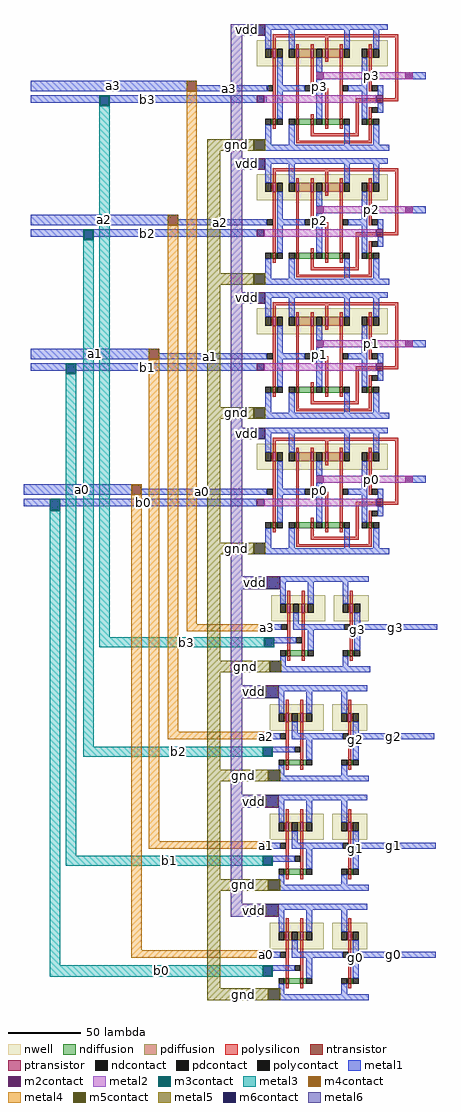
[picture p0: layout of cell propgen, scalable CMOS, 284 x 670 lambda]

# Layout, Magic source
magic
tech scmos
<< metal1 >>
rect 7 79 15 87
rect 111 49 125 54
rect -146 45 -32 48
rect -146 41 17 45
rect -146 37 14 38
rect -146 33 16 37
rect -99 31 -92 33
rect 7 0 15 8
rect 7 -13 15 -5
rect 111 -43 125 -38
rect -146 -47 -45 -44
rect -146 -51 15 -47
rect -146 -59 14 -54
rect -110 -61 -103 -59
rect 7 -92 15 -84
rect 7 -105 15 -97
rect 111 -135 125 -130
rect -146 -139 -58 -136
rect -146 -143 14 -139
rect -146 -151 14 -146
rect -122 -153 -115 -151
rect 7 -184 15 -176
rect 7 -198 15 -190
rect 111 -228 125 -223
rect -151 -232 -70 -229
rect -151 -236 9 -232
rect -151 -244 9 -239
rect -133 -247 -126 -244
rect 7 -277 15 -269
rect 16 -301 25 -292
rect 14 -330 19 -325
rect 79 -329 133 -325
rect 14 -341 21 -334
rect 18 -358 26 -350
rect 15 -376 24 -367
rect 13 -404 18 -399
rect 77 -404 131 -400
rect 13 -416 20 -409
rect 17 -433 25 -425
rect 15 -451 24 -442
rect 13 -479 18 -474
rect 78 -479 132 -475
rect 13 -491 20 -484
rect 17 -508 25 -500
rect 15 -526 24 -517
rect 13 -554 18 -549
rect 78 -554 132 -550
rect 13 -567 20 -559
rect 17 -583 25 -575
<< metal2 >>
rect 50 49 116 54
rect 50 -43 116 -38
rect 50 -135 116 -130
rect 50 -228 116 -223
<< m3contact >>
rect -99 31 -92 38
rect -110 -61 -103 -54
rect -122 -153 -115 -146
rect -133 -247 -126 -239
rect 14 -341 21 -334
rect 13 -416 20 -409
rect 13 -491 20 -484
rect 13 -567 20 -559
<< metal3 >>
rect -133 -559 -126 -247
rect -122 -484 -115 -153
rect -110 -409 -103 -61
rect -99 -334 -92 31
rect -99 -341 14 -334
rect -110 -416 13 -409
rect -122 -491 13 -484
rect -133 -567 13 -559
<< m4contact >>
rect -39 41 -32 48
rect -52 -51 -45 -44
rect -65 -143 -58 -136
rect -77 -236 -70 -229
rect 14 -330 19 -325
rect 13 -404 18 -399
rect 13 -479 18 -474
rect 13 -554 18 -549
<< metal4 >>
rect -77 -549 -70 -236
rect -65 -474 -58 -143
rect -52 -399 -45 -51
rect -39 -325 -32 41
rect -39 -330 14 -325
rect -52 -404 13 -399
rect -65 -479 13 -474
rect -77 -554 13 -549
<< m5contact >>
rect 7 0 15 8
rect 7 -92 15 -84
rect 7 -184 15 -176
rect 7 -277 15 -269
rect 18 -358 26 -350
rect 17 -433 25 -425
rect 17 -508 25 -500
rect 17 -583 25 -575
<< metal5 >>
rect -25 0 7 8
rect -25 -84 -16 0
rect -25 -92 7 -84
rect -25 -176 -16 -92
rect -25 -184 7 -176
rect -25 -269 -16 -184
rect -25 -277 7 -269
rect -25 -350 -16 -277
rect -25 -358 18 -350
rect -25 -425 -16 -358
rect -25 -433 17 -425
rect -25 -500 -16 -433
rect -25 -508 17 -500
rect -25 -575 -16 -508
rect -25 -583 17 -575
<< m6contact >>
rect 7 79 15 87
rect 7 -13 15 -5
rect 7 -105 15 -97
rect 7 -198 15 -190
rect 16 -301 25 -292
rect 15 -376 24 -367
rect 15 -451 24 -442
rect 15 -526 24 -517
<< metal6 >>
rect -9 79 7 87
rect -9 -5 -1 79
rect -9 -13 7 -5
rect -9 -97 -1 -13
rect -9 -105 7 -97
rect -9 -190 -1 -105
rect -9 -198 7 -190
rect -9 -292 -1 -198
rect -9 -301 16 -292
rect -9 -367 -1 -301
rect -9 -376 15 -367
rect -9 -442 -1 -376
rect -9 -451 15 -442
rect -9 -517 -1 -451
rect -9 -526 15 -517
use xor1  xor1_0
transform 1 0 34 0 1 62
box -33 -62 91 25
use xor1  xor1_1
transform 1 0 34 0 1 -30
box -33 -62 91 25
use xor1  xor1_2
transform 1 0 34 0 1 -122
box -33 -62 91 25
use xor1  xor1_3
transform 1 0 34 0 1 -215
box -33 -62 91 25
use 2and  2and_0
transform 1 0 19 0 1 -322
box -5 -36 71 30
use 2and  2and_1
transform 1 0 18 0 1 -397
box -5 -36 71 30
use 2and  2and_2
transform 1 0 18 0 1 -472
box -5 -36 71 30
use 2and  2and_3
transform 1 0 18 0 1 -547
box -5 -36 71 30
<< labels >>
rlabel metal1 -146 41 -32 48 1 a3
rlabel metal1 -146 -51 -45 -44 1 a2
rlabel metal1 -146 -143 -58 -136 1 a1
rlabel metal1 -151 -236 -70 -229 1 a0
rlabel space -39 41 20 45 1 a3
rlabel space -52 -51 20 -47 1 a2
rlabel space -65 -143 20 -139 1 a1
rlabel space -77 -236 20 -232 1 a0
rlabel metal1 -146 33 14 38 1 b3
rlabel metal1 -146 -59 14 -54 1 b2
rlabel metal1 -146 -151 14 -146 1 b1
rlabel space -152 -244 14 -239 1 b0
rlabel metal3 -99 -341 21 -334 1 b3
rlabel metal3 -110 -416 20 -409 1 b2
rlabel metal3 -122 -491 20 -484 1 b1
rlabel metal3 -133 -567 20 -559 1 b0
rlabel space 50 49 125 54 1 p3
rlabel space 50 -43 125 -38 1 p2
rlabel space 50 -135 125 -130 1 p1
rlabel space 50 -228 125 -223 1 p0
rlabel space 76 -329 133 -325 1 g3
rlabel space 75 -404 131 -400 1 g2
rlabel space 75 -479 131 -475 1 g1
rlabel space 75 -554 131 -550 1 g0
rlabel metal5 -25 0 15 8 1 gnd
rlabel metal5 -25 -184 15 -176 1 gnd
rlabel metal5 -25 -277 15 -269 1 gnd
rlabel metal5 -24 -358 26 -350 1 gnd
rlabel metal5 -25 -433 25 -425 1 gnd
rlabel metal5 -25 -508 25 -500 1 gnd
rlabel metal5 -25 -583 25 -575 1 gnd
rlabel metal6 -9 -526 24 -517 1 vdd
rlabel metal6 -9 -451 24 -442 1 vdd
rlabel metal6 -9 -376 24 -367 1 vdd
rlabel metal6 -8 -301 25 -292 1 vdd
rlabel metal6 -9 -198 15 -190 1 vdd
rlabel metal6 -9 -105 15 -97 1 vdd
rlabel metal6 -9 -13 15 -5 1 vdd
rlabel metal6 -9 79 15 87 5 vdd
rlabel space 3 -329 30 -325 1 a3
rlabel space 2 -404 29 -400 1 a2
rlabel space 2 -479 29 -475 1 a1
rlabel space 2 -554 29 -550 1 a0
rlabel space 1 -563 39 -559 1 b0
rlabel space 1 -488 39 -484 1 b1
rlabel space 1 -413 39 -409 1 b2
rlabel space 2 -338 40 -334 1 b3
rlabel space 50 18 54 70 1 p3
rlabel space 50 -74 54 -22 1 p2
rlabel space 50 -166 54 -114 1 p1
rlabel space 50 -259 54 -207 1 p0
rlabel space 76 -347 80 -311 1 g3
rlabel space 75 -422 79 -386 1 g2
rlabel space 75 -497 79 -461 1 g1
rlabel space 75 -572 79 -536 1 g0
<< end >>

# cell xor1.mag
magic
tech scmos
<< nwell >>
rect -25 -4 65 14
<< ntransistor >>
rect -14 -44 -12 -40
rect 2 -44 4 -40
rect 12 -44 14 -40
rect 22 -44 24 -40
rect 32 -44 34 -40
rect 52 -44 54 -40
<< ptransistor >>
rect -14 2 -12 8
rect 2 2 4 8
rect 12 2 14 8
rect 22 2 24 8
rect 32 2 34 8
rect 52 2 54 8
<< ndiffusion >>
rect -15 -44 -14 -40
rect -12 -44 -11 -40
rect 1 -44 2 -40
rect 4 -44 12 -40
rect 14 -44 16 -40
rect 20 -44 22 -40
rect 24 -44 32 -40
rect 34 -44 35 -40
rect 51 -44 52 -40
rect 54 -44 55 -40
<< pdiffusion >>
rect -15 2 -14 8
rect -12 2 -11 8
rect 1 2 2 8
rect 4 2 12 8
rect 14 2 16 8
rect 20 2 22 8
rect 24 2 32 8
rect 34 2 35 8
rect 51 2 52 8
rect 54 2 55 8
<< ndcontact >>
rect -19 -44 -15 -40
rect -11 -44 -7 -40
rect -3 -44 1 -40
rect 16 -44 20 -40
rect 35 -44 39 -40
rect 47 -44 51 -40
rect 55 -44 59 -40
<< pdcontact >>
rect -19 2 -15 8
rect -11 2 -7 8
rect -3 2 1 8
rect 16 2 20 8
rect 35 2 39 8
rect 47 2 51 8
rect 55 2 59 8
<< polysilicon >>
rect -14 16 72 18
rect -14 8 -12 16
rect 2 8 4 11
rect 12 8 14 11
rect 22 8 24 16
rect 32 8 34 11
rect 52 8 54 11
rect -14 -40 -12 2
rect 2 -40 4 2
rect 12 -19 14 2
rect 22 -1 24 2
rect 12 -21 24 -19
rect 12 -40 14 -37
rect 22 -40 24 -21
rect 32 -40 34 2
rect 52 -21 54 2
rect 70 -26 72 16
rect 43 -28 72 -26
rect -14 -47 -12 -44
rect 2 -55 4 -44
rect 12 -50 14 -44
rect 22 -47 24 -44
rect 32 -47 34 -44
rect 43 -50 45 -28
rect 52 -40 54 -32
rect 12 -52 45 -50
rect 52 -55 54 -44
rect 2 -57 54 -55
<< polycontact >>
rect -18 -21 -14 -17
rect 8 -21 12 -17
rect 34 -21 38 -17
rect 54 -21 58 -17
rect 54 -36 58 -32
<< metal1 >>
rect -25 21 65 25
rect -19 8 -15 21
rect -3 8 1 21
rect 35 8 39 21
rect 55 8 59 21
rect -11 -17 -7 2
rect 16 -8 20 2
rect -33 -21 -18 -17
rect -11 -21 8 -17
rect -33 -29 -25 -25
rect -11 -40 -7 -21
rect 16 -40 20 -13
rect 47 -17 51 2
rect 82 -13 91 -9
rect 38 -21 51 -17
rect 47 -40 51 -21
rect 58 -24 62 -17
rect 58 -36 62 -29
rect -19 -58 -15 -44
rect -3 -58 1 -44
rect 35 -58 39 -44
rect 55 -58 59 -44
rect -24 -62 66 -58
<< m2contact >>
rect 16 -13 21 -8
rect -25 -29 -20 -24
rect 77 -13 82 -8
rect 57 -29 62 -24
<< metal2 >>
rect 21 -13 77 -9
rect -20 -29 57 -24
<< end >>

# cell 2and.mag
magic
tech scmos
<< nwell >>
rect 0 -1 37 17
rect 43 -1 67 17
<< ntransistor >>
rect 11 -25 13 -21
rect 21 -25 23 -21
rect 54 -25 56 -21
<< ptransistor >>
rect 11 5 13 11
rect 21 5 23 11
rect 54 5 56 11
<< ndiffusion >>
rect 10 -25 11 -21
rect 13 -25 21 -21
rect 23 -25 25 -21
rect 53 -25 54 -21
rect 56 -25 57 -21
<< pdiffusion >>
rect 10 5 11 11
rect 13 5 15 11
rect 19 5 21 11
rect 23 5 25 11
rect 53 5 54 11
rect 56 5 57 11
<< ndcontact >>
rect 6 -25 10 -21
rect 25 -25 29 -21
rect 49 -25 53 -21
rect 57 -25 61 -21
<< pdcontact >>
rect 6 5 10 11
rect 15 5 19 11
rect 25 5 29 11
rect 49 5 53 11
rect 57 5 61 11
<< polysilicon >>
rect 11 11 13 20
rect 21 11 23 20
rect 54 11 56 20
rect 11 -21 13 5
rect 21 -21 23 5
rect 54 -21 56 5
rect 11 -28 13 -25
rect 21 -28 23 -25
rect 54 -28 56 -25
<< polycontact >>
rect 7 -7 11 -3
rect 17 -16 21 -12
rect 50 -7 54 -3
<< metal1 >>
rect 0 26 67 30
rect 6 11 10 26
rect 25 11 29 26
rect 49 11 53 26
rect 15 -3 19 5
rect 57 -3 61 5
rect -5 -7 7 -3
rect 15 -7 50 -3
rect 57 -7 71 -3
rect -5 -16 17 -12
rect 25 -21 29 -7
rect 57 -21 61 -7
rect 6 -32 10 -25
rect 49 -32 53 -25
rect -1 -36 68 -32
<< end >>
